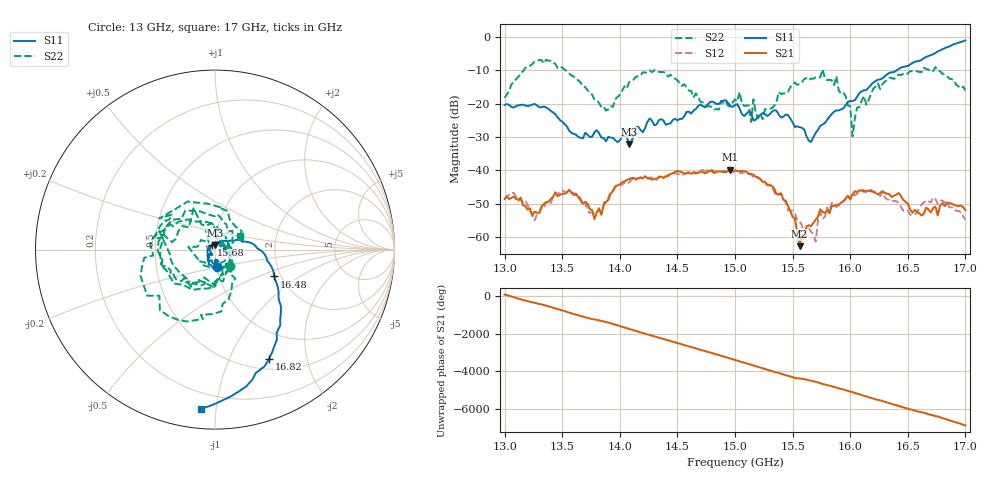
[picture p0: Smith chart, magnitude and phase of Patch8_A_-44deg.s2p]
!Keysight Technologies,P9374A,MY57211810,A.19.30.04
!Date: Friday, May 09, 2025 09:15:36
!Correction: S11(Cdelta 2-Port  )
!S21(Cdelta 2-Port  )
!S12(Cdelta 2-Port  )
!S22(Cdelta 2-Port  )
!S2P File: Measurements: S11, S21, S12, S22:
# Hz S  dB  R 50
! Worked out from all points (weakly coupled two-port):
!   201 points, 13 GHz to 17 GHz, reference 50 ohm
!   highest |S21| = -39.82 dB at 14.96 GHz (marker M1); lowest = -62.8 dB at 15.56 GHz (marker M2)
!   lowest |S11| = -32.1 dB at 14.08 GHz (marker M3), VSWR 1.05, Z = 50 + j2.49 ohm
!   |S11| at or under -10 dB: start of sweep to 16.4 GHz
!   |S22| runs from -29.8 to -6.8 dB; largest |S21 - S12| = 0.0014
!   S11 on the Smith chart (normalised r, x): 13 GHz: 1.00, -0.19; 15.68 GHz: 0.96, +0.05; 16.48 GHz: 1.84, -0.63; 16.82 GHz: 0.62, -1.42; 17 GHz: 0.11, -0.91
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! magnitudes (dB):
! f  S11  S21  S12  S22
! 13 GHz  -20.4  -48.6  -48.7  -18.2
! 13.3 GHz  -21.1  -52.8  -53.2  -6.9
! 13.68 GHz  -30.4  -50.1  -50.1  -14.8
! 13.88 GHz  -31.3  -49.5  -48.9  -22.1
! 14.08 GHz  -32.1  -42.6  -43.7  -13.6
! 14.34 GHz  -24.9  -42.1  -41.9  -10.5
! 14.96 GHz  -20.7  -39.8  -40.1  -20.8
! 15 GHz  -20.4  -40.0  -40.2  -18.7
! 15.14 GHz  -22.9  -41.1  -41.2  -25.5
! 15.16 GHz  -25.0  -41.3  -42.2  -18.7
! 15.24 GHz  -22.8  -43.5  -43.4  -24.6
! 15.4 GHz  -24.2  -47.0  -47.0  -17.1
! 15.56 GHz  -27.0  -62.8  -55.1  -14.1
! 15.68 GHz  -30.2  -55.8  -59.2  -12.5
! 15.88 GHz  -22.0  -50.3  -51.0  -11.7
! 16 GHz  -19.2  -48.7  -48.6  -20.7
! 16.02 GHz  -19.2  -47.3  -46.9  -29.8
! 16.12 GHz  -16.0  -46.4  -46.0  -17.7
! 16.34 GHz  -10.7  -47.2  -48.7  -12.2
! 16.48 GHz  -8.8  -49.5  -51.9  -11.3
! 16.82 GHz  -3.3  -50.7  -49.7  -11.3
! 17 GHz  -1.0  -52.0  -54.9  -16.0
